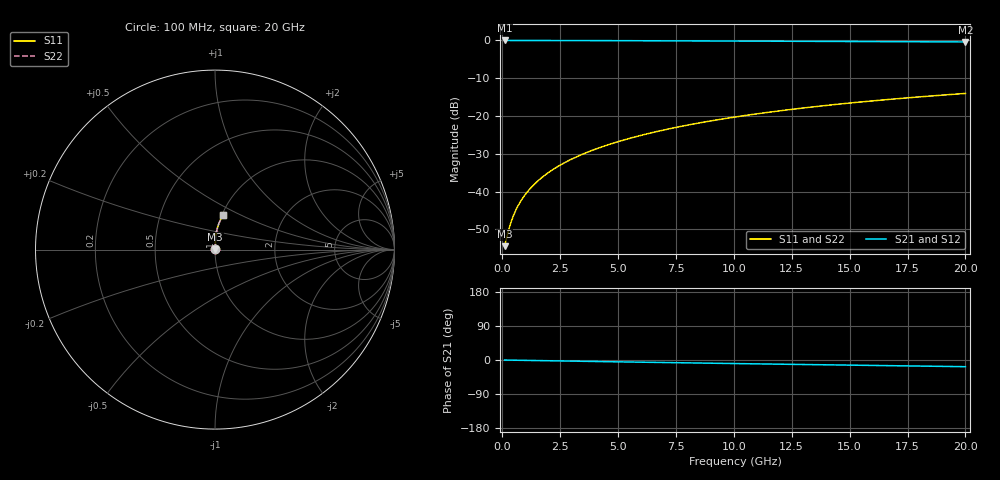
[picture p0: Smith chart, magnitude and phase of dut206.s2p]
! Touchstone file exported from HFSS 2024.1.0
!  File:  C:/UserFiles/LocalFiles/RDL_TSV_Batchsim/temp_RDL_bottom_206_1778699799.aedt
!  Generated:  03:19:25 AM May 14, 2026
!  Design:  RDL_bottom
!  Project:  temp_RDL_bottom_206_1778699799
!  Setup:  Setup1
!  Solution:  Sweep
! Variables:
!  dtsv = 10.80580581um
!  hbump = 3um
!  htsv = 97.65um
!  ldown = 205.45um
!  lrdl = 100um
!  p = 40
!  p1 = 50.36um
!  rhole = 1um
!  t = 450um
!  tdown = 2.53um
!  trdl = 3.915915916um
!  wdown = 21.88um
!  wrdl = 20um
# GHz S MA R 50.000000
! Terminal data exported
! Port[1] = RDL1_T1
! Port[2] = RDL1_T2
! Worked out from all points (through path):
!   200 points, 100 MHz to 20 GHz, reference 50 ohm
!   highest |S21| = -0.01 dB at 100 MHz (marker M1); lowest = -0.4 dB at 20 GHz (marker M2)
!   group delay of S21, straight-line fit = 2.43 ps
!   lowest |S11| = -54.4 dB at 100 MHz (marker M3), VSWR 1.00, Z = 50.2 + j0.0966 ohm
!   |S11| at or under -10 dB: start of sweep to end of sweep
!   |S22| runs from -54.4 to -14.0 dB; largest |S21 - S12| = 3.1e-15
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0.1  0.001898 30.5  0.9984 -0.1  0.9984 -0.1  0.001898 30.5
! Gamma 0 0 0 0
! Port Impedance 50 0 50 0
0.2  0.00254 48.7  0.9983 -0.2  0.9983 -0.2  0.00254 48.7
0.3  0.00332 58.7  0.9982 -0.3  0.9982 -0.3  0.00332 58.7
0.4  0.004141 64.6  0.9982 -0.4  0.9982 -0.4  0.004141 64.6
0.5  0.004976 68.5  0.9981 -0.5  0.9981 -0.5  0.004976 68.5
0.6  0.005816 71.3  0.998 -0.6  0.998 -0.6  0.005816 71.3
0.8  0.007506 75.2  0.9979 -0.8  0.9979 -0.8  0.007506 75.2
1.1  0.01007 78.9  0.9977 -1.1  0.9977 -1.1  0.01007 78.9
1.3  0.01179 80.5  0.9975 -1.3  0.9975 -1.3  0.01179 80.5
1.6  0.01441 82.3  0.9972 -1.6  0.9972 -1.6  0.01441 82.3
2.1  0.01883 84.2  0.9967 -2.1  0.9967 -2.1  0.01883 84.2
2.7  0.02422 85.6  0.996 -2.7  0.996 -2.7  0.02422 85.6
3.5  0.03155 86.7  0.9948 -3.5  0.9948 -3.5  0.03155 86.7
4.2  0.03812 87.3  0.9935 -4.1  0.9935 -4.1  0.03812 87.3
5  0.04578 87.6  0.9919 -4.9  0.9919 -4.9  0.04578 87.6
5.9  0.0546 87.6  0.99 -5.7  0.99 -5.7  0.0546 87.6
6.8  0.06359 87.5  0.9879 -6.5  0.9879 -6.5  0.06358 87.5
8.4  0.0799 86.7  0.9841 -8.0  0.9841 -8.0  0.0799 86.7
10.1  0.09751 85.6  0.9798 -9.5  0.9798 -9.5  0.09751 85.6
13.4  0.1319 82.8  0.9715 -12.2  0.9715 -12.2  0.1319 82.8
16.7  0.1658 79.8  0.9629 -15.0  0.9629 -15.0  0.1658 79.8
20  0.1988 76.8  0.9541 -17.6  0.9541 -17.6  0.1988 76.8
